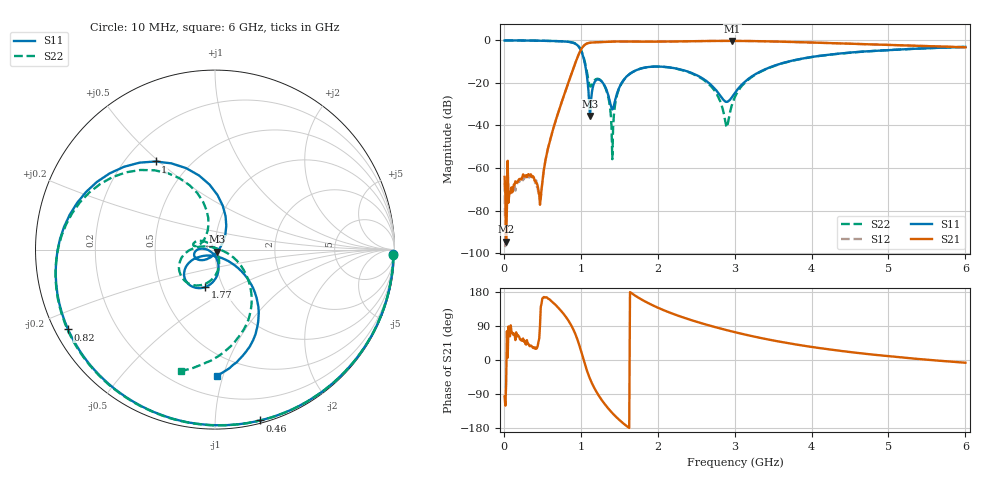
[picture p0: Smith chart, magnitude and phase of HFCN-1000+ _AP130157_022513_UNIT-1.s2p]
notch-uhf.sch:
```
<Qucs Schematic 0.0.20>
<Properties>
  <View=134,11,1534,1116,0.693437,82,240>
  <Grid=10,10,1>
  <DataSet=notch-uhf.dat>
  <DataDisplay=notch-uhf.dpl>
  <OpenDisplay=1>
  <Script=notch-uhf.m>
  <RunScript=0>
  <showFrame=0>
  <FrameText0=Title>
  <FrameText1=Drawn By:>
  <FrameText2=Date:>
  <FrameText3=Revision:>
</Properties>
<Symbol>
</Symbol>
<Components>
  <Pac P1 1 490 190 18 -26 0 1 "1" 1 "50 Ohm" 1 "0 dBm" 0 "1 GHz" 0 "26.85" 0>
  <GND *1 5 490 220 0 0 0 0>
  <GND *2 5 600 280 0 0 0 0>
  <GND *3 5 740 280 0 0 0 0>
  <GND *4 5 880 280 0 0 0 0>
  <Pac P2 1 990 190 18 -26 0 1 "2" 1 "50 Ohm" 1 "0 dBm" 0 "1 GHz" 0 "26.85" 0>
  <GND *5 5 990 220 0 0 0 0>
  <L L2 1 670 75 -26 -44 0 0 "22 nH" 1 "" 0>
  <L L4 1 810 75 -26 -44 0 0 "22 nH" 1 "" 0>
  <C C2 1 670 110 -26 10 0 0 "6.8 pF" 1 "" 0 "neutral" 0>
  <C C4 1 810 110 -26 10 0 0 "6.8 pF" 1 "" 0 "neutral" 0>
  <C C1 1 600 250 17 -26 0 1 "3.3 pF" 1 "" 0 "neutral" 0>
  <C C5 1 880 250 17 -26 0 1 "3.3 pF" 1 "" 0 "neutral" 0>
  <C C3 1 740 250 17 -26 0 1 "10 pF" 1 "" 0 "neutral" 0>
  <L L3 1 740 190 17 -26 0 1 "15 nH" 1 "" 0>
  <L L1 1 600 190 17 -26 0 1 "33 nH" 1 "" 0>
  <L L5 1 880 190 17 -26 0 1 "33 nH" 1 "" 0>
  <GND *6 5 1300 240 0 0 0 0>
  <Pac P3 1 1180 170 18 -26 0 1 "3" 1 "50 Ohm" 1 "0 dBm" 0 "1000 MHz" 0 "26.85" 0>
  <Pac P4 1 1400 170 18 -26 0 1 "4" 1 "50 Ohm" 1 "0 dBm" 0 "1000 MHz" 0 "26.85" 0>
  <Eqn Eqn1 1 710 360 -28 15 0 0 "S21_dB=dB(S[2,1])" 1 "S43_dB=dB(S[4,3])" 1 "S33_dB=dB(S[3,3])" 1 "S11_dB=dB(S[1,1])" 1 "yes" 0>
  <.SP SP1 1 490 340 0 68 0 0 "log" 1 "100 MHz" 1 "3 GHz" 1 "1000" 1 "no" 0 "1" 0 "2" 0 "no" 0 "no" 0>
  <SPfile HPF1 1 1300 110 -26 -38 0 0 "HFCN-1000+ _AP130157_022513_UNIT-1.s2p" 0 "rectangular" 0 "linear" 0 "open" 0 "2" 0>
</Components>
<Wires>
  <490 110 490 160 "" 0 0 0 "">
  <490 110 600 110 "" 0 0 0 "">
  <600 110 600 160 "" 0 0 0 "">
  <740 110 740 160 "" 0 0 0 "">
  <880 110 880 160 "" 0 0 0 "">
  <600 110 640 110 "" 0 0 0 "">
  <700 110 740 110 "" 0 0 0 "">
  <740 110 780 110 "" 0 0 0 "">
  <840 110 880 110 "" 0 0 0 "">
  <640 75 640 110 "" 0 0 0 "">
  <700 75 700 110 "" 0 0 0 "">
  <780 75 780 110 "" 0 0 0 "">
  <840 75 840 110 "" 0 0 0 "">
  <990 110 990 160 "" 0 0 0 "">
  <880 110 990 110 "" 0 0 0 "">
  <1330 110 1400 110 "" 0 0 0 "">
  <1400 110 1400 140 "" 0 0 0 "">
  <1400 200 1400 240 "" 0 0 0 "">
  <1300 240 1400 240 "" 0 0 0 "">
  <1300 140 1300 240 "" 0 0 0 "">
  <1180 240 1300 240 "" 0 0 0 "">
  <1180 200 1180 240 "" 0 0 0 "">
  <1180 110 1270 110 "" 0 0 0 "">
  <1180 110 1180 140 "" 0 0 0 "">
</Wires>
<Diagrams>
  <Rect 380 959 972 359 3 #c0c0c0 1 00 1 1e+08 2e+08 3e+09 1 -86.4722 20 7.86111 1 -1 0.5 1 315 0 225 "" "" "" "">
	<"S11_dB" #0000ff 0 3 0 0 0>
	<"S33_dB" #ff00ff 0 3 0 0 0>
	<"S43_dB" #00ff00 0 3 0 0 0>
	  <Mkr 3.62169e+08 -232 -278 3 0 0>
	  <Mkr 5.02176e+08 255 -113 3 0 0>
	  <Mkr 1.99384e+09 415 -467 3 0 0>
	  <Mkr 2.39626e+09 810 -467 3 0 0>
	<"S21_dB" #aa0000 0 3 0 0 0>
	  <Mkr 3.83749e+08 -215 -339 3 0 0>
	  <Mkr 4.95384e+08 253 -171 3 0 0>
  </Rect>
</Diagrams>
<Paintings>
  <Text 230 150 12 #000000 0 "Butterworth band-stop filter \n 300 MHz...600 MHz, pi-type, \n impedance matching 50 Ohm">
</Paintings>
```
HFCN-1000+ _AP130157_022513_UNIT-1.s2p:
!Mini-Circuits Laboratory
!S-Parameters
!Model:HFCN-1000+
!Run/Lot/Date Code: CS0100//N/A
!DATA FOR: UNIT# 1
!Fixture/SN/Due: N/A
!Connection: PORT-1 - pin<1>; PORT-2 - pin<3>
!PORT EXTENSION IS DONE ON TEST BOARD(TB-270)
!Created: 02-25-2013 at 10:37 AM
# MHZ S DB R 50
!Frequency  S11 dB  S11 DEG  S21 dB  S21 DEG  S12 dB  S12 DEG  S22 dB  S22 DEG
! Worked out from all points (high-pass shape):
!   600 points, 10 MHz to 6 GHz, reference 50 ohm
!   highest |S21| = -0.24 dB at 2.97 GHz (marker M1); lowest = -94.7 dB at 30 MHz (marker M2)
!   |S21| within 3 dB of the highest: 1.023 GHz to 5.993 GHz (4.971 GHz wide, 142 % of centre)
!   lowest |S11| = -35.5 dB at 1.12 GHz (marker M3), VSWR 1.03, Z = 51.1 - j1.25 ohm
!   |S11| at or under -10 dB: 1.048 GHz to 3.693 GHz (2.645 GHz wide, 112 % of centre)
!   |S22| runs from -55.9 to 0.0 dB; largest |S21 - S12| = 0.0014
!   S11 on the Smith chart (normalised r, x): 10 MHz: 15, -70; 460 MHz: 0.02, -1.30; 820 MHz: 0.04, -0.25; 1 GHz: 0.32, +0.49; 1.77 GHz: 0.83, -0.36; 6 GHz: 0.35, -0.95
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10  -0.05 -1.6  -64.16 -96.2  -67.00 -171.6  -0.05 -1.6
30  -0.04 -4.8  -94.67 -62.3  -81.86 148.3  -0.05 -4.8
460  -0.13 -75.2  -72.47 56.7  -71.99 60.4  -0.14 -76.0
820  -0.61 -151.5  -21.84 109.9  -21.84 109.9  -0.58 -150.7
1000  -4.56 124.0  -4.57 26.4  -4.57 26.4  -4.33 133.1
1120  -35.54 -46.8  -1.10 -49.6  -1.10 -49.6  -21.58 135.1
1410  -32.47 -132.5  -0.56 -139.9  -0.56 -139.9  -55.85 37.3
1770  -13.35 -104.3  -0.59 162.0  -0.59 162.0  -13.38 -112.3
2970  -26.46 -62.5  -0.24 75.1  -0.24 75.0  -29.85 -1.9
3010  -24.42 -51.1  -0.24 73.1  -0.24 73.1  -26.14 -10.5
6000  -3.08 -89.1  -3.24 -7.2  -3.24 -7.2  -3.05 -105.8
